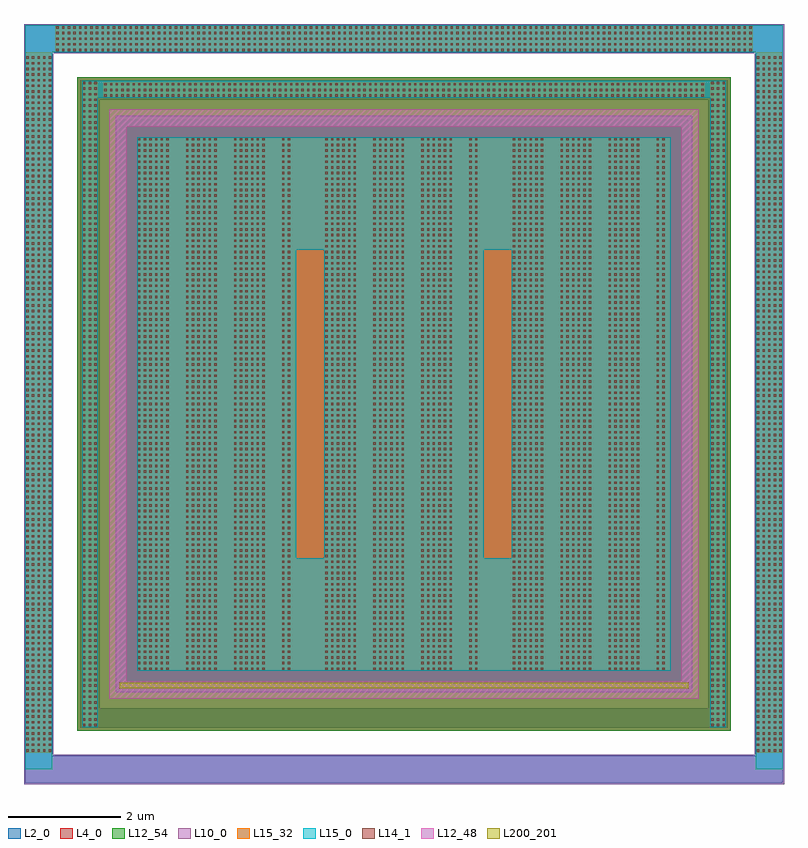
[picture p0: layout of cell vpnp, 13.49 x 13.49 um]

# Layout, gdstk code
import gdstk
lib = gdstk.Library(unit=1e-6, precision=1e-09)
def R(c, l, rs):  # rectangles x0, y0, x1, y1
    for r in rs: c.add(gdstk.rectangle(r[:2], r[2:], *l))
def A(c, l, x, y, w, h, nx, ny, dx, dy):  # array of equal rectangles
    R(c, l, [(x+i*dx, y+j*dy, x+i*dx+w, y+j*dy+h) for i in range(nx) for j in range(ny)])
L2_0 = (2, 0)
L4_0 = (4, 0)
L10_0 = (10, 0)
L12_48 = (12, 48)
L12_54 = (12, 54)
L14_1 = (14, 1)
L15_0 = (15, 0)
L15_32 = (15, 32)
L200_201 = (200, 201)

vpnp = lib.new_cell('vpnp')
R(vpnp, L2_0, [(-13.229,-5.259,0.223,-4.779), (-13.229,-4.779,-12.749,7.713), (-0.257,-4.779,0.223,7.713), (-12.249,-4.279,-0.757,-3.939), (-12.249,-3.939,-11.909,6.873), (-1.097,-3.939,-0.757,6.873), (-11.553,-3.583,-1.453,6.517), (-12.249,6.873,-0.757,7.213), (-13.229,7.713,0.223,8.193)])
R(vpnp, L4_0, [(-12.305,-4.335,-0.701,7.269)])
R(vpnp, L10_0, [(-13.25,-5.28,0.244,-4.758), (-13.25,-4.758,-12.728,7.692), (-0.278,-4.758,0.244,7.692), (-11.623,-3.653,-1.383,6.587), (-13.25,7.692,0.244,8.214)])
R(vpnp, L12_48, [(-11.734,-3.764,-1.272,-3.458), (-11.734,-3.458,-11.428,6.392), (-1.578,-3.458,-1.272,6.392), (-11.734,6.392,-1.272,6.698)])
R(vpnp, L12_54, [(-12.305,-4.335,-0.701,7.269)])
A(vpnp, L14_1, -13.209, -4.703, 0.04, 0.04, 5, 124, 0.1, 0.1)
A(vpnp, L14_1, -0.237, -4.703, 0.04, 0.04, 5, 124, 0.1, 0.1)
A(vpnp, L14_1, -12.199, -4.253, 0.04, 0.04, 3, 115, 0.1, 0.1)
A(vpnp, L14_1, -1.047, -4.253, 0.04, 0.04, 3, 115, 0.1, 0.1)
A(vpnp, L14_1, -11.223, -3.253, 0.04, 0.04, 6, 95, 0.1, 0.1)
A(vpnp, L14_1, -10.371, -3.253, 0.04, 0.04, 6, 95, 0.1, 0.1)
A(vpnp, L14_1, -9.519, -3.253, 0.04, 0.04, 6, 95, 0.1, 0.1)
A(vpnp, L14_1, -8.667, -3.253, 0.04, 0.04, 1, 95, 0, 0.1)
A(vpnp, L14_1, -8.567, -3.253, 0.04, 0.04, 1, 95, 0, 0.1)
A(vpnp, L14_1, -7.897, -3.253, 0.04, 0.04, 6, 95, 0.1, 0.1)
A(vpnp, L14_1, -7.045, -3.253, 0.04, 0.04, 6, 95, 0.1, 0.1)
A(vpnp, L14_1, -6.193, -3.253, 0.04, 0.04, 6, 95, 0.1, 0.1)
A(vpnp, L14_1, -5.341, -3.253, 0.04, 0.04, 1, 95, 0, 0.1)
A(vpnp, L14_1, -5.241, -3.253, 0.04, 0.04, 1, 95, 0, 0.1)
A(vpnp, L14_1, -4.572, -3.253, 0.04, 0.04, 6, 95, 0.1, 0.1)
A(vpnp, L14_1, -3.72, -3.253, 0.04, 0.04, 6, 95, 0.1, 0.1)
A(vpnp, L14_1, -2.868, -3.253, 0.04, 0.04, 6, 95, 0.1, 0.1)
A(vpnp, L14_1, -2.016, -3.253, 0.04, 0.04, 1, 95, 0, 0.1)
A(vpnp, L14_1, -1.916, -3.253, 0.04, 0.04, 1, 95, 0, 0.1)
A(vpnp, L14_1, -11.823, 6.923, 0.04, 0.04, 107, 3, 0.1, 0.1)
A(vpnp, L14_1, -12.673, 7.733, 0.04, 0.04, 124, 5, 0.1, 0.1)
R(vpnp, L15_0, [(-13.227,-5.019,-12.751,8.191), (-0.255,-5.019,0.221,8.191), (-12.217,-4.271,-11.941,7.205), (-1.065,-4.271,-0.789,7.205), (-11.241,-3.271,-1.765,-1.271), (-11.241,-1.271,-8.416,4.205), (-7.915,-1.271,-5.09,4.205), (-4.59,-1.271,-1.765,4.205), (-11.241,4.205,-1.765,6.205), (-11.941,6.905,-1.065,7.205), (-12.751,7.715,-0.255,8.191)])
R(vpnp, L15_32, [(-13.227,-4.721,-12.751,7.715), (-0.255,-4.721,0.221,7.715), (-12.217,-4.271,-11.941,7.205), (-1.065,-4.271,-0.789,7.205), (-11.241,-3.271,-1.765,6.205), (-11.841,6.905,-1.165,7.181), (-12.691,7.715,-0.315,8.191)])
R(vpnp, L200_201, [(-11.553,-3.583,-1.453,-3.483)])

lib.write_gds('vpnp.gds')
